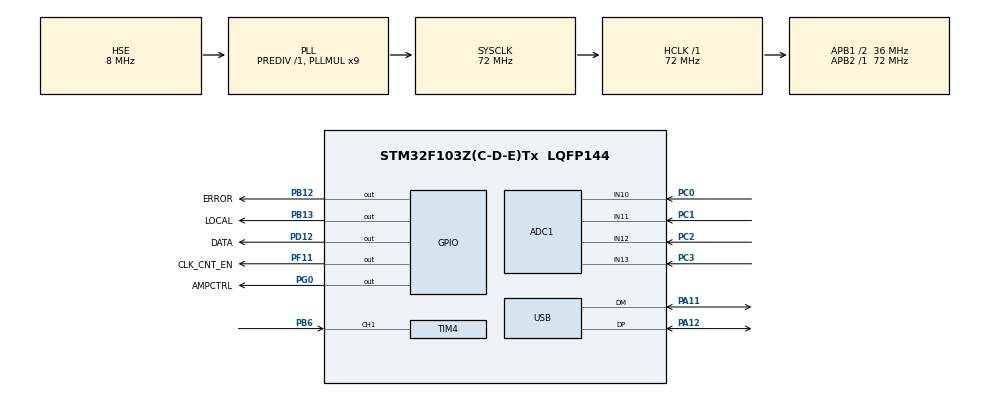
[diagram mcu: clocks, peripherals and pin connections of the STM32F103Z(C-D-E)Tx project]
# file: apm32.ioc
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ADC1.Channel-1\#ChannelRegularConversion=ADC_CHANNEL_10
ADC1.Channel-2\#ChannelRegularConversion=ADC_CHANNEL_12
ADC1.Channel-3\#ChannelRegularConversion=ADC_CHANNEL_13
ADC1.Channel-4\#ChannelRegularConversion=ADC_CHANNEL_11
ADC1.ContinuousConvMode=ENABLE
ADC1.DiscontinuousConvMode=DISABLE
ADC1.NbrOfConversion=4
ADC1.NbrOfConversionFlag=1
ADC1.Rank-1\#ChannelRegularConversion=1
ADC1.Rank-2\#ChannelRegularConversion=2
ADC1.Rank-3\#ChannelRegularConversion=3
ADC1.Rank-4\#ChannelRegularConversion=4
ADC1.SamplingTime-1\#ChannelRegularConversion=ADC_SAMPLETIME_13CYCLES_5
ADC1.SamplingTime-2\#ChannelRegularConversion=ADC_SAMPLETIME_13CYCLES_5
ADC1.SamplingTime-3\#ChannelRegularConversion=ADC_SAMPLETIME_13CYCLES_5
ADC1.SamplingTime-4\#ChannelRegularConversion=ADC_SAMPLETIME_13CYCLES_5
ADC1.master=1
Dma.ADC1.0.Direction=DMA_PERIPH_TO_MEMORY
Dma.ADC1.0.Instance=DMA1_Channel1
Dma.ADC1.0.MemDataAlignment=DMA_MDATAALIGN_HALFWORD
Dma.ADC1.0.MemInc=DMA_MINC_ENABLE
Dma.ADC1.0.Mode=DMA_CIRCULAR
Dma.ADC1.0.PeriphDataAlignment=DMA_PDATAALIGN_HALFWORD
Dma.ADC1.0.PeriphInc=DMA_PINC_DISABLE
Dma.ADC1.0.Priority=DMA_PRIORITY_HIGH
Dma.Request0=ADC1
Mcu.Family=STM32F1
Mcu.Name=STM32F103Z(C-D-E)Tx
Mcu.Package=LQFP144
NVIC.DMA1_Channel1_IRQn=true\:0\:0\:false\:false\:true\:false\:true\:true
NVIC.PriorityGroup=NVIC_PRIORITYGROUP_4
NVIC.RTC_IRQn=true\:0\:0\:false\:false\:true\:true\:true\:true
NVIC.TIM4_IRQn=true\:0\:0\:false\:false\:true\:true\:true\:true
NVIC.USB_LP_CAN1_RX0_IRQn=true\:0\:0\:false\:false\:true\:true\:true\:true
OSC_IN.Mode=HSE-External-Oscillator
OSC_IN.Signal=RCC_OSC_IN
OSC_OUT.Mode=HSE-External-Oscillator
OSC_OUT.Signal=RCC_OSC_OUT
PA11.Mode=Device
PA11.Signal=USB_DM
PA12.Mode=Device
PA12.Signal=USB_DP
PB12.GPIO_Label=ERROR
PB12.PinState=GPIO_PIN_RESET
PB12.Signal=GPIO_Output
PB13.GPIO_Label=LOCAL
PB13.PinState=GPIO_PIN_RESET
PB13.Signal=GPIO_Output
PB6.Signal=S_TIM4_CH1
PC0.Signal=ADCx_IN10
PC1.Signal=ADCx_IN11
PC2.Signal=ADCx_IN12
PC3.Signal=ADCx_IN13
PD12.GPIO_Label=DATA
PD12.PinState=GPIO_PIN_SET
PD12.Signal=GPIO_Output
PF11.GPIO_Label=CLK_CNT_EN
PF11.Signal=GPIO_Output
PG0.GPIO_Label=AMPCTRL
PG0.GPIO_ModeDefaultOutputPP=GPIO_MODE_OUTPUT_PP
PG0.GPIO_PuPd=GPIO_PULLDOWN
PG0.PinState=GPIO_PIN_SET
PG0.Signal=GPIO_Output
ProjectManager.HeapSize=0x400
ProjectManager.StackSize=0x400
ProjectManager.TargetToolchain=MDK-ARM V5.32
RCC.ADCPresc=RCC_ADCPCLK2_DIV6
RCC.AHBFreq_Value=72000000
RCC.APB1CLKDivider=RCC_HCLK_DIV2
RCC.APB1Freq_Value=36000000
RCC.APB1TimFreq_Value=72000000
RCC.APB2Freq_Value=72000000
RCC.APB2TimFreq_Value=72000000
RCC.HCLKFreq_Value=72000000
RCC.PLLMUL=RCC_PLL_MUL9
RCC.PLLSourceVirtual=RCC_PLLSOURCE_HSE
RCC.RTCClockSelection=RCC_RTCCLKSOURCE_HSE_DIV128
RCC.SYSCLKFreq_VALUE=72000000
RCC.SYSCLKSource=RCC_SYSCLKSOURCE_PLLCLK
RCC.USBFreq_Value=48000000
RCC.USBPrescaler=RCC_USBCLKSOURCE_PLL_DIV1_5
SH.ADCx_IN10.0=ADC1_IN10,IN10
SH.ADCx_IN11.0=ADC1_IN11,IN11
SH.ADCx_IN12.0=ADC1_IN12,IN12
SH.ADCx_IN13.0=ADC1_IN13,IN13
SH.S_TIM4_CH1.0=TIM4_CH1,Input_Capture1_from_TI1
TIM4.Channel-Input_Capture1_from_TI1=TIM_CHANNEL_1
TIM4.Period=999
TIM4.Prescaler=71
USB_DEVICE.CLASS_NAME_FS=CDC
USB_DEVICE.VirtualMode=Cdc
USB_DEVICE.VirtualModeFS=Cdc_FS
VP_RTC_VS_RTC_Activate.Mode=RTC_Enabled
VP_RTC_VS_RTC_Calendar.Mode=RTC_Calendar
VP_SYS_VS_ND.Mode=No_Debug
VP_TIM4_VS_ClockSourceINT.Mode=Internal
VP_USB_DEVICE_VS_USB_DEVICE_CDC_FS.Mode=CDC_FS
board=custom

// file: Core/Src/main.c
/* USER CODE BEGIN Header */
/**
  ******************************************************************************
  * @file           : main.c
  * @brief          : Main program body
  ******************************************************************************
  * @attention
  *
  * Copyright (c) 2023 STMicroelectronics.
  * All rights reserved.
  *
  * This software is licensed under terms that can be found in the LICENSE file
  * in the root directory of this software component.
  * If no LICENSE file comes with this software, it is provided AS-IS.
  *
  ******************************************************************************
  */
/* USER CODE END Header */
#include "main.h"
#include "adc.h"
#include "dma.h"
#include "rtc.h"
#include "tim.h"
#include "usb_device.h"
#include "gpio.h"

/* USER CODE BEGIN Includes */
#include "usbd_cdc.h"
#include "usbd_cdc_if.h"
#include "common.h"
#include "testCase.h"

/* USER CODE END Includes */

/* USER CODE BEGIN PTD */
#define DEBUG_TEST 0
uint8_t workState = INIT_STATE;
uint16_t g_testEndFlag = 0;

RTC_DateTypeDef sdatestructure;
RTC_TimeTypeDef stimestructure;
/* USER CODE END PTD */

/* USER CODE BEGIN PV */
uint16_t ADC_value[ADC_CHANNEL_CNT*SAMPLING_COUNT] = { 0 };
uint16_t lastVccData;
uint16_t lastClkData;
uint16_t lastIOData;
uint16_t lastRstData;

uint8_t  g_UcomBuf[1024] = {0};
uint8_t  sendBuf[1024] = {0};

uint8_t  StartSamplingFlag = 0;
uint8_t  LauchTestCaseFlag = 0;
uint16_t g_caseNumber = 0;

uint32_t g_uSampleStartTimeTick = 0;
SAMPLING_DATA g_curSampleVal = {0};
CASE_STATE g_caseState = {0};
uint16_t curCaseNum = 0;

float curVccAmp = 0.0;

uint8_t sampleInit = 0;

uint32_t IC_TIMES;  // 捕获次数，单�?1ms
uint8_t IC_START_FLAG;  // 捕获�?始标志，1：已捕获到高电平�?0：还没有捕获到高电平
uint8_t IC_DONE_FLAG;  // 捕获完成标志�?1：已完成�?次高电平捕获
uint16_t IC_VALUE;  // 输入捕获的捕获�??
/* USER CODE END PV */

void SystemClock_Config(void);

/* USER CODE BEGIN 0 */

void USB_Status_Init(void);
/* 定时器计数溢出中断处理回调函�? */
void HAL_TIM_PeriodElapsedCallback(TIM_HandleTypeDef *htim)
{
    if(IC_DONE_FLAG == 0)  // 未完成捕�?
    {
        if(IC_START_FLAG == 1)  // 已经捕获到了高电�?
        {
            IC_TIMES++;  // 捕获次数加一
        }
    }
}

void HAL_TIM_IC_CaptureCallback(TIM_HandleTypeDef *htim)
{
    if(IC_DONE_FLAG == 0)  // 未完成捕�?
    {
        if(IC_START_FLAG == 1)  // 原来是高电平，现在捕获到�?个下降沿
        {
            IC_VALUE = HAL_TIM_ReadCapturedValue(htim, TIM_CHANNEL_1);  // 获取捕获�?
            TIM_RESET_CAPTUREPOLARITY(htim,TIM_CHANNEL_1);  // 先清除原来的设置
            TIM_SET_CAPTUREPOLARITY(htim,TIM_CHANNEL_1,TIM_ICPOLARITY_RISING);// 配置为上升沿捕获
            IC_START_FLAG = 0;  // 标志复位
            IC_DONE_FLAG = 1;  // 完成�?次高电平捕获
        }
        else  // 捕获还未�?始，第一次捕获到上升�?
        {
            IC_TIMES = 0;  // 捕获次数清零
            IC_VALUE = 0;  // 捕获值清�?
            IC_START_FLAG = 1;  // 设置捕获到了上边沿的标志
            TIM_RESET_CAPTUREPOLARITY(htim,TIM_CHANNEL_1);  // 先清除原来的设置
            TIM_SET_CAPTUREPOLARITY(htim,TIM_CHANNEL_1,TIM_ICPOLARITY_FALLING);// 配置为下降沿捕获
        }
        __HAL_TIM_SET_COUNTER(htim,0);  // 定时器计数�?�清�?
    }
#if 0
    if (htim->Instance == htim4.Instance)
    {
        g_uClockCnt++;
        HAL_TIM_ReadCapturedValue(&htim4,TIM_CHANNEL_1);
        clkStableFlag = 1;
    }
#endif
}

uint32_t ADC_MultiChannelPolling(uint8_t *packet)
{
    uint16_t dataLength = 0;
    uint16_t index = 0;
    SAMPLING_DATA data = { 0 };
    uint16_t packet_index = 8; /* �?8个字节固�? */
    uint8_t bitLen = 0;
    uint32_t uSampleOneClk = 0;
    uint32_t uCurrentClk = 0;

    float curVcc_v = 0.0;
    float curClk_v = 0.0;
    float curIo_v  = 0.0;
    float curRst_v = 0.0;

    packet[2] = 0x81; /* 报文类型 */
    packet[3] = 0x01; /* 报文类型 */
    *(uint32_t *)(packet+4) = stm32_htonl(HAL_GetTick());

    if(clkStableFlag == 0){
       g_uStartSampleClkCnt = 0;
       g_uEndSampleClkCnt =  0;
    }

    g_uStartSampleClkCnt = g_uClockCnt;
    uSampleOneClk =  (g_uStartSampleClkCnt - g_uEndSampleClkCnt)/32;
    g_uEndSampleClkCnt = g_uStartSampleClkCnt;

    for (index = 0; index < SAMPLING_COUNT; index++) {
        memset(&data, 0, sizeof(SAMPLING_DATA));
        bitLen = 0;
        uCurrentClk = g_uStartSampleClkCnt + uSampleOneClk * index;
        data.Clock = stm32_htonl(uCurrentClk);
        data.Pin = BIT7; /* 电压 */
        if (ADC_value[index*4] != lastVccData)
        {
            data.Pin = data.Pin | BIT2;
            data.Data0 = ADC_value[index*4];
            lastVccData = ADC_value[index*4];
            bitLen += 12;
        }

        if (ADC_value[index*4+2] != lastRstData)
        {
            data.Pin = data.Pin | BIT1;
            if (bitLen == 12) { /* 数据中包含时钟�?�和电压�? */
                data.Data1 = ADC_value[index*4+2];
            } else if (bitLen == 0){ /* 数据中包含时钟�?�或电压�? */
                data.Data0 = ADC_value[index*4+2];
            } else {
                //print error
            }
            bitLen += 12;
            lastRstData = ADC_value[index*4+2];
        }

        if (ADC_value[index*4+1] != lastIOData)
        {
            data.Pin = data.Pin | BIT0;
            if (bitLen == 24){ /* 数据中包含时钟�?��?�电压�?�和IO�? */
                data.Data2 = ADC_value[index*4+1];
            } else if (bitLen == 12) {
                data.Data1 =  ADC_value[index*4+1];
            } else if(bitLen == 0) {
                data.Data0 = ADC_value[index*4+1];
            } else {
                //error
            }
            bitLen += 12;
            lastIOData = ADC_value[index*4+1];
        }
#if 0
        usb_printf("uCurrentClk = %u, curVcc_v = %f, curClk_v = %f, curIo_v = %f, Amp = %f, curRst_v = %f\r\n",
		uCurrentClk,
            VOL(ADC_value[index*4]),
            VOL(ADC_value[index*4+1]), VOL(ADC_value[index*4+2]), (VOL(ADC_value[index*4+2])/3300)*1000000, VOL(ADC_value[index*4+3]));
#else
usb_printf("[%u,%d] %f %f %f %f %f\r\n",
		        uCurrentClk,                //clk
				    index,
            VOL(ADC_value[index*4]),        //vcc
            VOL(ADC_value[index*4+3]),      //clk
				    VOL(ADC_value[index*4+1]),      //io
				    VOL(ADC_value[index*4+2]),      //rst
  			    (VOL(ADC_value[index*4+1])/3300)*1000000); //io amp

#endif
        if (LauchTestCaseFlag == 1)
        {
            curVcc_v = VOL(ADC_value[index*4]);         /*vcc*/
            curClk_v = VOL(ADC_value[index*4+3]);       /*clk*/
            curIo_v  = VOL(ADC_value[index*4+1]);       /*io*/
            curRst_v = VOL(ADC_value[index*4+2]);       /*rst*/
            //curVccAmp = vcc_amp_count(ADC_value[4], ADC_value[5]);
            if (ClkLevel(curClk_v) == 'H'){
                HAL_GPIO_WritePin(DATA_GPIO_Port, DATA_Pin, GPIO_PIN_SET);
            }else
                HAL_GPIO_WritePin(DATA_GPIO_Port, DATA_Pin, GPIO_PIN_RESET);

            switch(g_caseNumber){
                case 1:
                    te_init_pwr_seq(&TePwrSeqState, curVcc_v, curClk_v, curIo_v, curRst_v);
                    te_3v3_pwr_seq(&TePwrSeqState, uCurrentClk, curVcc_v, curClk_v, curIo_v, curRst_v);
                    te_2nd_5v_pwr_seq(&TePwrSeqState,  uCurrentClk, curVcc_v, curClk_v, curIo_v, curRst_v);
                    break;
                case 2:
                    te_init_pwr_seq(&TePwrSeqState, curVcc_v, curClk_v, curIo_v, curRst_v);
                    te_1v8_pwr_seq(&TePwrSeqState,  uCurrentClk, curVcc_v, curClk_v, curIo_v, curRst_v);
                    te_2nd_3v3_pwr_seq(&TePwrSeqState,  uCurrentClk, curVcc_v, curClk_v, curIo_v, curRst_v);
                    break;
                case 3:
                    te_3v3_pwr_down_seq(&g_pwrDownState, uCurrentClk, curVcc_v, curClk_v, curIo_v, curRst_v);
                    te_2nd_5v_pwr_down_seq(&g_pwrDownState, uCurrentClk, curVcc_v, curClk_v, curIo_v, curRst_v);
                    break;
                case 4:
                    te_1v8_pwr_down_seq(&g_pwrDownState, uCurrentClk, curVcc_v, curClk_v, curIo_v, curRst_v);
                    te_2nd_3v3_pwr_down_seq(&g_pwrDownState, uCurrentClk, curVcc_v, curClk_v, curIo_v, curRst_v);
                    break;
                default:
                    break;
            }
        }

        dataLength = (bitLen / 8) + ((bitLen % 8) ? 1 : 0) + 5;
        memcpy((packet + packet_index), &data, dataLength);
        packet_index += dataLength;
    }

	*((uint16_t *)packet) = stm32_htons(packet_index);
    return packet_index;
}

/* USER CODE END 0 */

int main(void)
{
  /* USER CODE BEGIN 1 */
  uint32_t sendLen = 0;
  uint8_t sampleInit = 0;
  uint32_t time = 0;
  /* USER CODE END 1 */

  /* MCU Configuration--------------------------------------------------------*/

  /* Reset of all peripherals, Initializes the Flash interface and the Systick. */
  HAL_Init();

  /* Configure the system clock */
  SystemClock_Config();

  /* USER CODE BEGIN SysInit */
  USB_Status_Init();
  /* USER CODE END SysInit */

  /* Initialize all configured peripherals */

  /* Infinite loop */
  while(1){
		/* USER CODE BEGIN 3 */
    switch(workState){
        case INIT_STATE:
            /* Initialize all configured peripherals */
            MX_GPIO_Init();
            MX_DMA_Init();
            MX_ADC1_Init();
            MX_TIM4_Init();
            MX_USB_DEVICE_Init();
            MX_RTC_Init();
            TePwrSeqState = INIT;
            TePreErrState = INIT;
		    HAL_GPIO_WritePin(CLK_CNT_EN_GPIO_Port, CLK_CNT_EN_Pin, GPIO_PIN_RESET);

            workState = IDLE_STATE;
		    HAL_Delay(500);
            break;
        case IDLE_STATE:
            if (StartSamplingFlag == 1) {
				startup_info_report();
                workState = SAMPLE_STATE;
            }
            else
                HAL_Delay(100);
            break;
        case SAMPLE_STATE:
            if ((sampleInit == 0) && (StartSamplingFlag == 1)) {
                HAL_ADCEx_Calibration_Start(&hadc1);
                HAL_ADC_Start_DMA(&hadc1, (uint32_t *)&ADC_value, ADC_CHANNEL_CNT * SAMPLING_COUNT);
                HAL_GPIO_WritePin(GPIOB, LOCAL_Pin, GPIO_PIN_SET);
                sampleInit = 1;
            }
            if (StartSamplingFlag == 1)
            {
                sendLen = ADC_MultiChannelPolling(sendBuf);

                if ((HAL_GetTick()%1000) == 0)
                    HAL_GPIO_TogglePin(DATA_GPIO_Port, DATA_Pin);

                //CDC_Transmit_FS(sendBuf, sendLen);
            }
            if (LauchTestCaseFlag == 1) {
                g_caseState = execTestCase(g_caseNumber, sendBuf);
            }
            else
            {
                workState = TEST_END_STATE;
            }
            break;
        case TEST_END_STATE:
            if ((LauchTestCaseFlag == 0) && (g_testEndFlag == 0)) {
                endTestCase(g_caseNumber, &g_caseState);
				g_testEndFlag = 1;
			}

            if (StartSamplingFlag == 1)
                  workState = SAMPLE_STATE;
            else {
                /*stop adc
                  stop tm
                  stop rtc
                */
                workState = IDLE_STATE;
                HAL_GPIO_WritePin(GPIOB, LOCAL_Pin, GPIO_PIN_RESET);
			}
            break;
        default:
            ;
    }
#if DEBUG_TEST == 1
    HAL_RTC_GetTime(&hrtc, &stimestructure, RTC_FORMAT_BIN);
    /* Get the RTC current Date */
    HAL_RTC_GetDate(&hrtc, &sdatestructure, RTC_FORMAT_BIN);
    /* Display date Format : yy/mm/dd */
    usb_printf("%02d/%02d/%02d\r\n", 2000 + sdatestructure.Year, sdatestructure.Month, sdatestructure.Date);
    /* Display time Format : hh:mm:ss */
    usb_printf("%02d:%02d:%02d\r\n", stimestructure.Hours, stimestructure.Minutes, stimestructure.Seconds);
    uiFrequency = 1000000 / uiCycle;
//    printf("占空�?:%dus  周期:%dus  频率:%dHz \r\n", uiDutyCycle, uiCycle, uiFrequency);
    HAL_GPIO_TogglePin(DATA_GPIO_Port, DATA_Pin); /* 翻转GPIO引脚电平 */
    HAL_Delay(500); /* 延时500ms */
#endif
  }
  /* USER CODE END 3 */
}

void SystemClock_Config(void)
{
  RCC_OscInitTypeDef RCC_OscInitStruct = {0};
  RCC_ClkInitTypeDef RCC_ClkInitStruct = {0};
  RCC_PeriphCLKInitTypeDef PeriphClkInit = {0};

  /** Initializes the RCC Oscillators according to the specified parameters
  * in the RCC_OscInitTypeDef structure.
  */
  RCC_OscInitStruct.OscillatorType = RCC_OSCILLATORTYPE_HSE;
  RCC_OscInitStruct.HSEState = RCC_HSE_ON;
  RCC_OscInitStruct.HSEPredivValue = RCC_HSE_PREDIV_DIV1;
  RCC_OscInitStruct.HSIState = RCC_HSI_ON;
  RCC_OscInitStruct.PLL.PLLState = RCC_PLL_ON;
  RCC_OscInitStruct.PLL.PLLSource = RCC_PLLSOURCE_HSE;
  RCC_OscInitStruct.PLL.PLLMUL = RCC_PLL_MUL9;
  if (HAL_RCC_OscConfig(&RCC_OscInitStruct) != HAL_OK)
  {
    Error_Handler();
  }

  /** Initializes the CPU, AHB and APB buses clocks
  */
  RCC_ClkInitStruct.ClockType = RCC_CLOCKTYPE_HCLK|RCC_CLOCKTYPE_SYSCLK
                              |RCC_CLOCKTYPE_PCLK1|RCC_CLOCKTYPE_PCLK2;
  RCC_ClkInitStruct.SYSCLKSource = RCC_SYSCLKSOURCE_PLLCLK;
  RCC_ClkInitStruct.AHBCLKDivider = RCC_SYSCLK_DIV1;
  RCC_ClkInitStruct.APB1CLKDivider = RCC_HCLK_DIV2;
  RCC_ClkInitStruct.APB2CLKDivider = RCC_HCLK_DIV1;

  if (HAL_RCC_ClockConfig(&RCC_ClkInitStruct, FLASH_LATENCY_2) != HAL_OK)
  {
    Error_Handler();
  }
  PeriphClkInit.PeriphClockSelection = RCC_PERIPHCLK_RTC|RCC_PERIPHCLK_ADC
                              |RCC_PERIPHCLK_USB;
  PeriphClkInit.RTCClockSelection = RCC_RTCCLKSOURCE_HSE_DIV128;
  PeriphClkInit.AdcClockSelection = RCC_ADCPCLK2_DIV6;
  PeriphClkInit.UsbClockSelection = RCC_USBCLKSOURCE_PLL_DIV1_5;
  if (HAL_RCCEx_PeriphCLKConfig(&PeriphClkInit) != HAL_OK)
  {
    Error_Handler();
  }
}

/* USER CODE BEGIN 4 */
void USB_Status_Init(void)
{
    GPIO_InitTypeDef GPIO_InitStruct = {0};

    /* GPIO Ports Clock Enable */
    __HAL_RCC_GPIOA_CLK_ENABLE();

    /*Configure GPIO pin Output Level */
    HAL_GPIO_WritePin(GPIOA, GPIO_PIN_11|GPIO_PIN_12, GPIO_PIN_RESET);

    /*Configure GPIO pin : PA11 PA12 */
    GPIO_InitStruct.Pin = GPIO_PIN_11|GPIO_PIN_12;
    GPIO_InitStruct.Mode = GPIO_MODE_OUTPUT_PP;
    GPIO_InitStruct.Pull = GPIO_NOPULL;
    GPIO_InitStruct.Speed = GPIO_SPEED_FREQ_LOW;
    HAL_GPIO_Init(GPIOA, &GPIO_InitStruct);

    HAL_Delay(10);
}
/* USER CODE END 4 */

void Error_Handler(void)
{
  __disable_irq();
  while (1)
  {
  }
}
